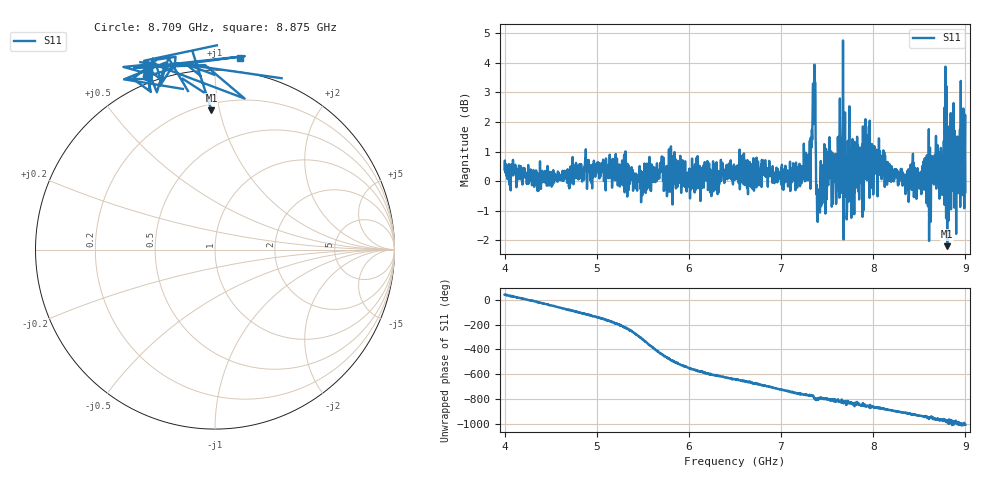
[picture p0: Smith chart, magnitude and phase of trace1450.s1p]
! Created with skrf 1.8.0 (http://scikit-rf.org).
# Hz S RI R 50.0
!freq ReS11 ImS11
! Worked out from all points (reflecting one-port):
!   1601 points, 4 GHz to 9 GHz, reference 50 ohm
!   lowest |S11| = -2.2 dB at 8.803 GHz (marker M1), VSWR 7.97, Z = 12.1 + j47.3 ohm
!   phase of S11 starts at 43 deg and turns -1052 deg over the sweep
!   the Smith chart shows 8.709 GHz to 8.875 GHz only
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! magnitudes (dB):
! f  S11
! 4 GHz  0.4
! 4.625 GHz  0.1
! 4.897 GHz  0.1
! 5.25 GHz  -0.2
! 5.875 GHz  -0.2
! 6.5 GHz  0.1
! 7.125 GHz  0.4
! 7.294 GHz  0.0
! 7.35 GHz  1.9
! 7.369 GHz  3.4
! 7.4 GHz  -0.6
! 7.409 GHz  -0.7
! 7.512 GHz  -0.1
! 7.588 GHz  0.9
! 7.65 GHz  1.4
! 7.694 GHz  2.3
! 7.703 GHz  0.4
! 7.75 GHz  0.5
! 7.872 GHz  1.0
! 7.928 GHz  0.9
! 7.981 GHz  0.1
! 8.375 GHz  -0.2
! 8.612 GHz  0.4
! 8.775 GHz  2.5
! 8.803 GHz  -2.2
! 8.919 GHz  -0.2
! 8.972 GHz  0.5
! 9 GHz  -0.4
